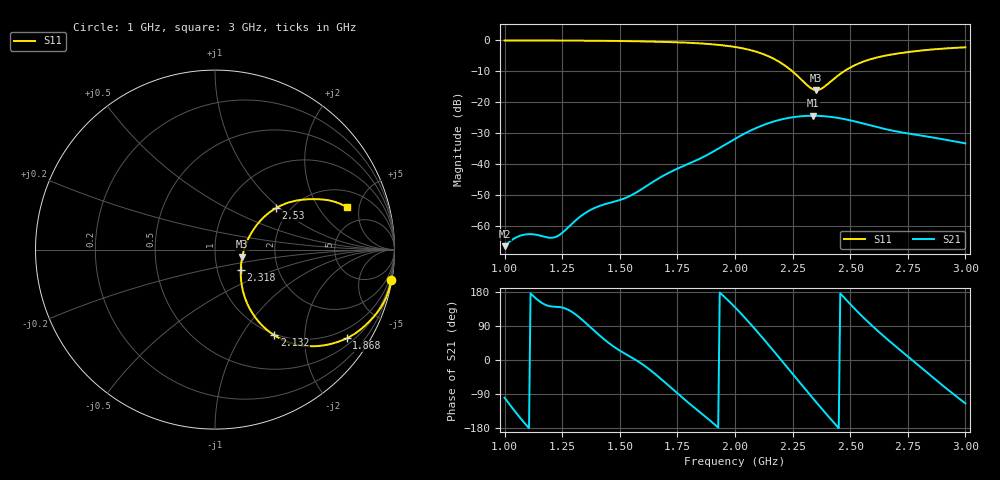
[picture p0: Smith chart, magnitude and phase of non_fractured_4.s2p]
! TOUCHSTONE file generated by CST MICROWAVE STUDIO
! Date and time: Sat Mar  8 13:53:54 2025
! Project name: non_fractured.cst
! Parameters = {B=2.5; D=160; F=5; Feed=2.85625; L=100; M=5; R=0.384908; S=1; Theta=270; length=57.125; wave=114.25}
! Header version: 2024
! Port assignment regex: !\s*Touchstone port\s*([0-9]+)\s*=\s*(CST MWS port|CST DES external port|CST DES block port)\s*(.+)\s* \(\"(.*)\"\)(\s*mode\s*([0-9]+))?.*
! Touchstone port assignment:
! Touchstone port 1 = CST MWS port 1 ("")
! Touchstone port 2 = CST MWS port 2 ("")
# GHz S DB R 50
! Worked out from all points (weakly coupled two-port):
!   303 points, 1 GHz to 3 GHz, reference 50 ohm
!   highest |S21| = -24.39 dB at 2.338 GHz (marker M1); lowest = -66.6 dB at 1 GHz (marker M2)
!   lowest |S11| = -16.1 dB at 2.351 GHz (marker M3), VSWR 1.37, Z = 67.7 - j5.49 ohm
!   |S11| at or under -10 dB: 2.249 GHz to 2.473 GHz (224.4 MHz wide, 9.5 % of centre)
!   S12 and S22 are empty: the file has one direction only
!   S11 on the Smith chart (normalised r, x): 1 GHz: 0, -12; 1.868 GHz: 0.69, -3.14; 2.132 GHz: 0.98, -1.41; 2.318 GHz: 1.30, -0.30; 2.53 GHz: 1.70, +0.95; 3 GHz: 3.22, +3.78
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1  -0.02 -9.8  -66.60 -99.6  -200.00 0.0  -200.00 0.0
1.03974  -0.02 -10.4  -64.18 -131.5  -200.00 0.0  -200.00 0.0
1.08609  -0.03 -11.0  -62.86 -166.2  -200.00 0.0  -200.00 0.0
1.19868  -0.05 -12.8  -63.89 141.7  -200.00 0.0  -200.00 0.0
1.22517  -0.05 -13.2  -63.51 140.3  -200.00 0.0  -200.00 0.0
1.33775  -0.08 -15.4  -56.51 105.4  -200.00 0.0  -200.00 0.0
1.40397  -0.12 -16.9  -53.81 69.2  -200.00 0.0  -200.00 0.0
1.54305  -0.24 -20.5  -50.39 9.5  -200.00 0.0  -200.00 0.0
1.66887  -0.44 -24.6  -44.65 -44.8  -200.00 0.0  -200.00 0.0
1.86755  -1.06 -33.9  -37.53 -147.6  -200.00 0.0  -200.00 0.0
2  -2.12 -43.3  -31.86 139.2  -200.00 0.0  -200.00 0.0
2.13245  -4.72 -55.3  -27.13 49.3  -200.00 0.0  -200.00 0.0
2.22517  -8.60 -59.5  -25.20 -18.3  -200.00 0.0  -200.00 0.0
2.31788  -14.80 -38.0  -24.41 -86.4  -200.00 0.0  -200.00 0.0
2.33775  -15.80 -24.8  -24.39 -100.8  -200.00 0.0  -200.00 0.0
2.35099  -16.07 -14.6  -24.40 -110.4  -200.00 0.0  -200.00 0.0
2.37748  -15.52 5.1  -24.49 -129.3  -200.00 0.0  -200.00 0.0
2.46358  -10.48 32.5  -25.31 171.3  -200.00 0.0  -200.00 0.0
2.5298  -7.70 34.2  -26.40 128.8  -200.00 0.0  -200.00 0.0
2.66887  -4.70 28.8  -28.98 50.6  -200.00 0.0  -200.00 0.0
2.84106  -3.04 22.6  -31.20 -37.0  -200.00 0.0  -200.00 0.0
3  -2.23 17.7  -33.32 -114.6  -200.00 0.0  -200.00 0.0
